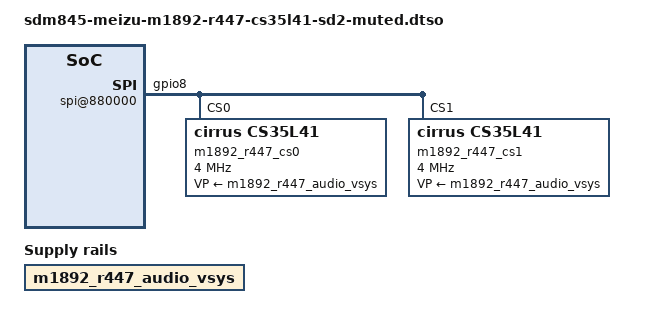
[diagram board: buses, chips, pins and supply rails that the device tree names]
// SPDX-License-Identifier: GPL-2.0-only
/* R447: muted dual CS35L41 card on stock M1892 QUAT MI2S SD2/GPIO62. */

/dts-v1/;
/plugin/;

/ {
	fragment@0 {
		target-path = "/";
		__overlay__ {
			m1892_r447_audio_vsys: regulator-audio-vsys-r447 {
				compatible = "regulator-fixed";
				regulator-name = "audio_vsys_r447";
				regulator-always-on;
				regulator-boot-on;
			};
		};
	};

	fragment@1 {
		target-path = "/soc@0/pinctrl@3400000";
		__overlay__ {
			m1892_r447_spi0_cs1: qup-spi0-r447-cs1-state {
				pins = "gpio8";
				function = "qup_l4";
				drive-strength = <6>;
				bias-disable;
			};

			m1892_r447_quat_mi2s: quat-mi2s-r447-active-state {
				pins = "gpio58", "gpio59";
				function = "qua_mi2s";
				drive-strength = <8>;
				bias-disable;
				output-high;
			};

			m1892_r447_quat_mi2s_sd2: quat-mi2s-r447-sd2-active-state {
				pins = "gpio62";
				function = "qua_mi2s";
				drive-strength = <8>;
				bias-disable;
			};
		};
	};

	fragment@2 {
		target-path = "/soc@0/geniqup@8c0000/spi@880000";
		__overlay__ {
			#address-cells = <1>;
			#size-cells = <0>;
			pinctrl-names = "default";
			pinctrl-0 = <0x3f &m1892_r447_spi0_cs1>;
			status = "okay";

			m1892_r447_cs0: speaker-amp@0 {
				compatible = "cirrus,cs35l41";
				reg = <0>;
				#sound-dai-cells = <1>;
				sound-name-prefix = "Left";
				spi-max-frequency = <4000000>;
				interrupt-parent = <0x4e>;
				interrupts = <11 8>;
				reset-gpios = <0x4e 7 0>;
				VA-supply = <0x57>;
				VP-supply = <&m1892_r447_audio_vsys>;
				cirrus,boost-type = <0>;
				cirrus,boost-peak-milliamp = <3500>;
				cirrus,boost-ind-nanohenry = <1000>;
				cirrus,boost-cap-microfarad = <15>;
				cirrus,gpio2-output-enable;
				cirrus,gpio2-src-select = <4>;
			};

			m1892_r447_cs1: speaker-amp@1 {
				compatible = "cirrus,cs35l41";
				reg = <1>;
				#sound-dai-cells = <1>;
				sound-name-prefix = "Right";
				spi-max-frequency = <4000000>;
				interrupt-parent = <0x4e>;
				interrupts = <30 8>;
				reset-gpios = <0x4e 7 0>;
				VA-supply = <0x57>;
				VP-supply = <&m1892_r447_audio_vsys>;
				cirrus,boost-type = <0>;
				cirrus,boost-peak-milliamp = <3500>;
				cirrus,boost-ind-nanohenry = <1000>;
				cirrus,boost-cap-microfarad = <15>;
				cirrus,gpio2-output-enable;
				cirrus,gpio2-src-select = <4>;
			};
		};
	};

	fragment@3 {
		target-path = "/remoteproc-adsp/glink-edge/apr/service@4/dais";
		__overlay__ {
			#address-cells = <1>;
			#size-cells = <0>;

			dai@22 {
				reg = <22>;
				qcom,sd-lines = <2>;
			};
		};
	};

	fragment@4 {
		target-path = "/sound";
		__overlay__ {
			pinctrl-names = "default";
			pinctrl-0 = <&m1892_r447_quat_mi2s &m1892_r447_quat_mi2s_sd2>;

			m1892-r447-speaker-dai-link {
				link-name = "M1892 Speaker Playback";

				cpu {
					sound-dai = <0xf8 22>;
				};

				platform {
					sound-dai = <0xf9>;
				};

				codec {
					sound-dai = <&m1892_r447_cs0 0>, <&m1892_r447_cs1 0>;
				};
			};

			m1892-r447-mm1-dai-link {
				link-name = "MultiMedia1";

				cpu {
					sound-dai = <0xf7 0>;
				};
			};

			mm1-dai-link {
				status = "disabled";
			};
		};
	};
};

